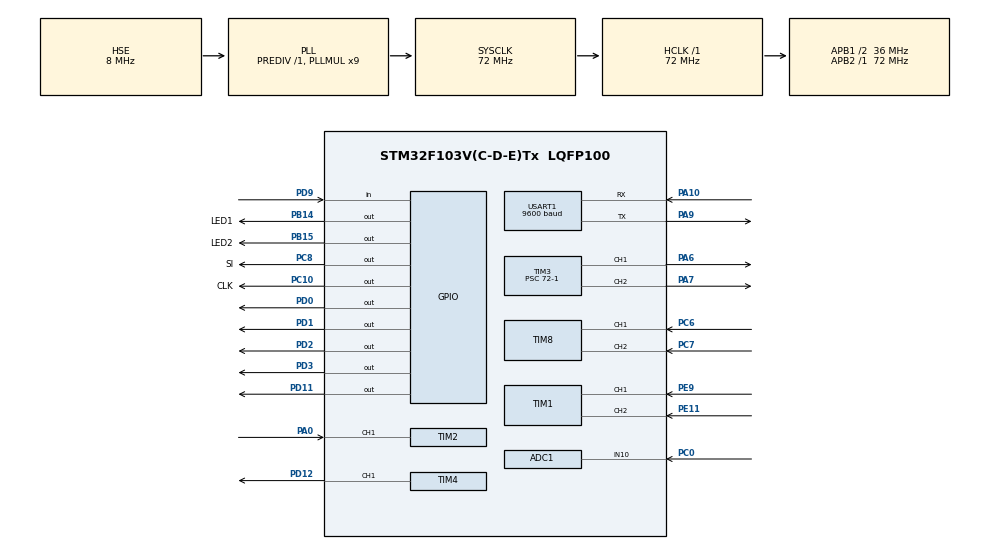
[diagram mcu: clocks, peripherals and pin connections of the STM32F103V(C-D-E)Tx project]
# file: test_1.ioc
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ADC1.Channel-0\#ChannelRegularConversion=ADC_CHANNEL_10
ADC1.NbrOfConversionFlag=1
ADC1.Rank-0\#ChannelRegularConversion=1
ADC1.SamplingTime-0\#ChannelRegularConversion=ADC_SAMPLETIME_1CYCLE_5
ADC1.master=1
Dma.Request0=USART1_RX
Dma.Request1=USART1_TX
Dma.USART1_RX.0.Direction=DMA_PERIPH_TO_MEMORY
Dma.USART1_RX.0.Instance=DMA1_Channel5
Dma.USART1_RX.0.MemDataAlignment=DMA_MDATAALIGN_BYTE
Dma.USART1_RX.0.MemInc=DMA_MINC_ENABLE
Dma.USART1_RX.0.Mode=DMA_NORMAL
Dma.USART1_RX.0.PeriphDataAlignment=DMA_PDATAALIGN_BYTE
Dma.USART1_RX.0.PeriphInc=DMA_PINC_DISABLE
Dma.USART1_RX.0.Priority=DMA_PRIORITY_LOW
Dma.USART1_TX.1.Direction=DMA_MEMORY_TO_PERIPH
Dma.USART1_TX.1.Instance=DMA1_Channel4
Dma.USART1_TX.1.MemDataAlignment=DMA_MDATAALIGN_BYTE
Dma.USART1_TX.1.MemInc=DMA_MINC_ENABLE
Dma.USART1_TX.1.Mode=DMA_NORMAL
Dma.USART1_TX.1.PeriphDataAlignment=DMA_PDATAALIGN_BYTE
Dma.USART1_TX.1.PeriphInc=DMA_PINC_DISABLE
Dma.USART1_TX.1.Priority=DMA_PRIORITY_LOW
Mcu.Family=STM32F1
Mcu.Name=STM32F103V(C-D-E)Tx
Mcu.Package=LQFP100
NVIC.ADC1_2_IRQn=true\:0\:0\:false\:false\:true\:true\:true
NVIC.DMA1_Channel4_IRQn=true\:0\:0\:false\:false\:true\:false\:true
NVIC.DMA1_Channel5_IRQn=true\:0\:0\:false\:false\:true\:false\:true
NVIC.PriorityGroup=NVIC_PRIORITYGROUP_4
NVIC.TIM2_IRQn=true\:0\:0\:false\:false\:true\:true\:true
NVIC.TIM7_IRQn=true\:0\:0\:false\:false\:true\:true\:true
NVIC.USART1_IRQn=true\:0\:0\:false\:false\:true\:true\:true
OSC_IN.Mode=HSE-External-Oscillator
OSC_IN.Signal=RCC_OSC_IN
OSC_OUT.Mode=HSE-External-Oscillator
OSC_OUT.Signal=RCC_OSC_OUT
PA0-WKUP.Signal=S_TIM2_CH1_ETR
PA10.Mode=Asynchronous
PA10.Signal=USART1_RX
PA13.Mode=Serial_Wire
PA13.Signal=SYS_JTMS-SWDIO
PA14.Mode=Serial_Wire
PA14.Signal=SYS_JTCK-SWCLK
PA6.Signal=S_TIM3_CH1
PA7.Signal=S_TIM3_CH2
PA9.Mode=Asynchronous
PA9.Signal=USART1_TX
PB14.GPIO_Label=LED1
PB14.GPIO_PuPd=GPIO_NOPULL
PB14.Signal=GPIO_Output
PB15.GPIO_Label=LED2
PB15.GPIO_PuPd=GPIO_NOPULL
PB15.Signal=GPIO_Output
PC0.Signal=ADCx_IN10
PC10.GPIO_Label=CLK
PC10.Signal=GPIO_Output
PC14-OSC32_IN.Mode=LSE-External-Oscillator
PC14-OSC32_IN.Signal=RCC_OSC32_IN
PC15-OSC32_OUT.Mode=LSE-External-Oscillator
PC15-OSC32_OUT.Signal=RCC_OSC32_OUT
PC6.GPIO_PuPd=GPIO_PULLUP
PC6.Signal=S_TIM8_CH1
PC7.GPIO_PuPd=GPIO_PULLUP
PC7.Signal=S_TIM8_CH2
PC8.GPIO_Label=SI
PC8.Signal=GPIO_Output
PD0.Signal=GPIO_Output
PD1.Signal=GPIO_Output
PD11.Signal=GPIO_Output
PD12.Signal=S_TIM4_CH1
PD2.Signal=GPIO_Output
PD3.Signal=GPIO_Output
PD9.Signal=GPIO_Input
PE11.Signal=S_TIM1_CH2
PE9.Signal=S_TIM1_CH1
ProjectManager.HeapSize=0x200
ProjectManager.StackSize=0x400
ProjectManager.TargetToolchain=STM32CubeIDE
RCC.ADCPresc=RCC_ADCPCLK2_DIV6
RCC.AHBFreq_Value=72000000
RCC.APB1CLKDivider=RCC_HCLK_DIV2
RCC.APB1Freq_Value=36000000
RCC.APB1TimFreq_Value=72000000
RCC.APB2Freq_Value=72000000
RCC.APB2TimFreq_Value=72000000
RCC.HCLKFreq_Value=72000000
RCC.PLLMUL=RCC_PLL_MUL9
RCC.PLLSourceVirtual=RCC_PLLSOURCE_HSE
RCC.SYSCLKFreq_VALUE=72000000
RCC.SYSCLKSource=RCC_SYSCLKSOURCE_PLLCLK
RCC.USBFreq_Value=72000000
SH.ADCx_IN10.0=ADC1_IN10,IN10
SH.S_TIM1_CH1.0=TIM1_CH1,Encoder_Interface
SH.S_TIM1_CH2.0=TIM1_CH2,Encoder_Interface
SH.S_TIM2_CH1_ETR.0=TIM2_CH1,Input_Capture1_from_TI1
SH.S_TIM3_CH1.0=TIM3_CH1,PWM Generation1 CH1
SH.S_TIM3_CH2.0=TIM3_CH2,PWM Generation2 CH2
SH.S_TIM4_CH1.0=TIM4_CH1,PWM Generation1 CH1
SH.S_TIM8_CH1.0=TIM8_CH1,Encoder_Interface
SH.S_TIM8_CH2.0=TIM8_CH2,Encoder_Interface
TIM1.EncoderMode=TIM_ENCODERMODE_TI12
TIM2.Channel-Input_Capture1_from_TI1=TIM_CHANNEL_1
TIM2.Period=65535
TIM2.Prescaler=72-1
TIM3.Channel-PWM\ Generation1\ CH1=TIM_CHANNEL_1
TIM3.Channel-PWM\ Generation2\ CH2=TIM_CHANNEL_2
TIM3.Period=200-1
TIM3.Prescaler=72-1
TIM4.Channel-PWM\ Generation1\ CH1=TIM_CHANNEL_1
TIM4.Period=2000-1
TIM4.Prescaler=720-1
TIM7.Period=5000-1
TIM7.Prescaler=720-1
TIM8.AutoReloadPreload=TIM_AUTORELOAD_PRELOAD_ENABLE
TIM8.EncoderMode=TIM_ENCODERMODE_TI12
USART1.BaudRate=9600
USART1.VirtualMode=VM_ASYNC
VP_TIM2_VS_ClockSourceINT.Mode=Internal
VP_TIM7_VS_ClockSourceINT.Mode=Enable_Timer
board=custom

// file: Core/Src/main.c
/* USER CODE BEGIN Header */
/**
  ******************************************************************************
  * @file           : main.c
  * @brief          : Main program body
  ******************************************************************************
  * @attention
  *
  * Copyright (c) 2022 STMicroelectronics.
  * All rights reserved.
  *
  * This software is licensed under terms that can be found in the LICENSE file
  * in the root directory of this software component.
  * If no LICENSE file comes with this software, it is provided AS-IS.
  *
  ******************************************************************************
  */
/* USER CODE END Header */
#include "main.h"
#include "adc.h"
#include "dma.h"
#include "tim.h"
#include "usart.h"
#include "gpio.h"

/* USER CODE BEGIN Includes */
#include "motor.h"
#include "tools.h"
#include "servo.h"
#include "ccd.h"
/* USER CODE END Includes */

/* USER CODE BEGIN PV */
short started = 0;
int speed_L=0;
int speed_R=0;
int camera_pos = 0;
short ERROR_L;
short ERROR_R;
short ERROR_cam;
/* USER CODE END PV */

void SystemClock_Config(void);

int main(void)
{

  /* MCU Configuration--------------------------------------------------------*/

  /* Reset of all peripherals, Initializes the Flash interface and the Systick. */
  HAL_Init();

  /* Configure the system clock */
  SystemClock_Config();

  /* Initialize all configured peripherals */
  MX_GPIO_Init();
  MX_TIM2_Init();
  MX_TIM3_Init();
  MX_TIM8_Init();
  MX_TIM1_Init();
  MX_USART1_UART_Init();
  MX_DMA_Init();
  MX_TIM7_Init();
  MX_TIM4_Init();
  MX_ADC1_Init();
  /* USER CODE BEGIN 2 */

  motor_init();
  servo_init();
  /* USER CODE END 2 */

  /* Infinite loop */
  /* USER CODE BEGIN WHILE */
  int k = 0;
  while (1)
  {
	  k++;
	  if(k%18==0&&started)
	  {

			TRIG_echo();
		  		if(echo_distance<=350 && started)
		  		{
		  			printf("!!!!!!!!!!!!%d\n",echo_distance);
		  			if(target_servo_degree< 80 && mode == 0)
		  			{
		  				mode = 1;
		  			}
		  			if(target_servo_degree> 100 && mode == 0)
		  			{
		  				mode = -1;
		  			}
		  		}
		  HAL_Delay(3);
		  //k = 0;
		  servo_scan();
	  }
	  if(k%36==0 )
	  {
		  if(started)
		  {
			  //printf("Now speed:\n%d,%d\n",speed_L,speed_R);
			  //printf("Now adjust:\n%d,%d\n",diff_speed_L,diff_speed_R);
			  //printf("Now motor:\n%d,%d\n",motor_speed_L,motor_speed_R);
			  //printf("Now target:\n%d,%d\n",target_speed_L,target_speed_R);
			  printf("Now camera:\n%d\nNow count:\n%d\nNow mode:\n%d\nNow target_pos:\n%d\n",camera_pos,count,mode,target_pos);
			  printf("Now result0:\n%d\nNow result1:\n%d\n",result[0],result[1]);
			  printf("///////////////////\n");
		  }
		  k = 0;
	  }
	  camera_take();
	  camera_pos = get_camera_pos();
	  if(!started)
	  {
		  last_pos = 64;
		  mode = 0;
	  }
	  if(Rx_command[0])
	  {
		  printf("now command is:%s\n",Rx_command);
		  excute_command(Rx_command);
		  clear_command();
	  }

    /* USER CODE END WHILE */

  }
}

void SystemClock_Config(void)
{
  RCC_OscInitTypeDef RCC_OscInitStruct = {0};
  RCC_ClkInitTypeDef RCC_ClkInitStruct = {0};
  RCC_PeriphCLKInitTypeDef PeriphClkInit = {0};

  /** Initializes the RCC Oscillators according to the specified parameters
  * in the RCC_OscInitTypeDef structure.
  */
  RCC_OscInitStruct.OscillatorType = RCC_OSCILLATORTYPE_HSE;
  RCC_OscInitStruct.HSEState = RCC_HSE_ON;
  RCC_OscInitStruct.HSEPredivValue = RCC_HSE_PREDIV_DIV1;
  RCC_OscInitStruct.HSIState = RCC_HSI_ON;
  RCC_OscInitStruct.PLL.PLLState = RCC_PLL_ON;
  RCC_OscInitStruct.PLL.PLLSource = RCC_PLLSOURCE_HSE;
  RCC_OscInitStruct.PLL.PLLMUL = RCC_PLL_MUL9;
  if (HAL_RCC_OscConfig(&RCC_OscInitStruct) != HAL_OK)
  {
    Error_Handler();
  }
  /** Initializes the CPU, AHB and APB buses clocks
  */
  RCC_ClkInitStruct.ClockType = RCC_CLOCKTYPE_HCLK|RCC_CLOCKTYPE_SYSCLK
                              |RCC_CLOCKTYPE_PCLK1|RCC_CLOCKTYPE_PCLK2;
  RCC_ClkInitStruct.SYSCLKSource = RCC_SYSCLKSOURCE_PLLCLK;
  RCC_ClkInitStruct.AHBCLKDivider = RCC_SYSCLK_DIV1;
  RCC_ClkInitStruct.APB1CLKDivider = RCC_HCLK_DIV2;
  RCC_ClkInitStruct.APB2CLKDivider = RCC_HCLK_DIV1;

  if (HAL_RCC_ClockConfig(&RCC_ClkInitStruct, FLASH_LATENCY_2) != HAL_OK)
  {
    Error_Handler();
  }
  PeriphClkInit.PeriphClockSelection = RCC_PERIPHCLK_ADC;
  PeriphClkInit.AdcClockSelection = RCC_ADCPCLK2_DIV6;
  if (HAL_RCCEx_PeriphCLKConfig(&PeriphClkInit) != HAL_OK)
  {
    Error_Handler();
  }
}

/* USER CODE BEGIN 4 */
void HAL_UART_RxCpltCallback(UART_HandleTypeDef *huart)
{
	if(huart->Instance == USART1)	// 判断是由哪个串口触发的中�????????
	{
		// 接收到数据马上使用串�????????1发�?�出�????????
		Rx_buffer[Rx_len] = Rx_byte;
		Rx_len++;
		if(Rx_len==RXBUFFER_LEN)
		{
			Rx_len=0;
		}
		Check_Rx();
		HAL_UART_Receive_IT(&huart1,&Rx_byte,1);		// 重新使能串口1接收中断
	}
}
void HAL_TIM_PeriodElapsedCallback(TIM_HandleTypeDef *htim)
{
	static uint8_t i = 0;

	if(htim->Instance == TIM7 && started)
	{
		P_count = 1;
		short tar_total_speed = 100;
		short diff_rot = PID_cal_rot(target_pos,camera_pos,&ERROR_cam);
		rotation_curvature +=diff_rot;
		if(abs(mode)==1||abs(mode) ==3)
		{
			if(rotation_curvature>MAX_CURV_M)
				rotation_curvature = MAX_CURV_M;
			if(rotation_curvature<-MAX_CURV_M)
				rotation_curvature = -MAX_CURV_M;
		}
		else
		{
			if(rotation_curvature>MAX_CURV)
				rotation_curvature = MAX_CURV;
			if(rotation_curvature<-MAX_CURV)
				rotation_curvature = -MAX_CURV;
		}
		if (rotation_curvature == 0)
			drive(tar_total_speed,0);
		else
		{
			double temp_radius =  10000/(float)rotation_curvature;
			short temp_speed = tar_total_speed-abs(rotation_curvature)/4;
			if(mode!=0)
				temp_speed*=0.8;
			drive(temp_speed*0.6,(short)temp_radius);
		}

		speed_L = motor_read_speed_L();			//获取当前速度
		speed_R = motor_read_speed_R();
		short diff_speed_L = PID_cal_L(target_speed_L,speed_L,&ERROR_L);//当前PWM数�?�加上增量式PID计算�??????????�??????????
		short diff_speed_R = PID_cal_R(target_speed_R,speed_R,&ERROR_R);//当前PWM数�?�加上增量式PID计算�??????????�??????????
		motor_speed_L += diff_speed_L;
		motor_speed_R += diff_speed_R;
		//限制PWM�??????????大范�??????????
		if(motor_speed_L>MAX_SPEED)
			motor_speed_L = MAX_SPEED;
		if(motor_speed_L<-MAX_SPEED)
			motor_speed_L = -MAX_SPEED;
		if(motor_speed_R>MAX_SPEED)
			motor_speed_R = MAX_SPEED;
		if(motor_speed_R<-MAX_SPEED)
			motor_speed_R = -MAX_SPEED;
		if(target_speed_L == 0 && speed_L ==0)
			motor_speed_L = 0;
		if(target_speed_R == 0 && speed_R ==0)
			motor_speed_R = 0;
		//将PID计算后的PWM写入系统
		motor_PWM(motor_speed_L,motor_speed_R);
		//motor_PWM(-50,-50);

//		i++;
//		if(i >= 30)
//		{
//
//		}

	}
}

/* USER CODE END 4 */

void Error_Handler(void)
{
  __disable_irq();
  while (1)
  {
  }
}
